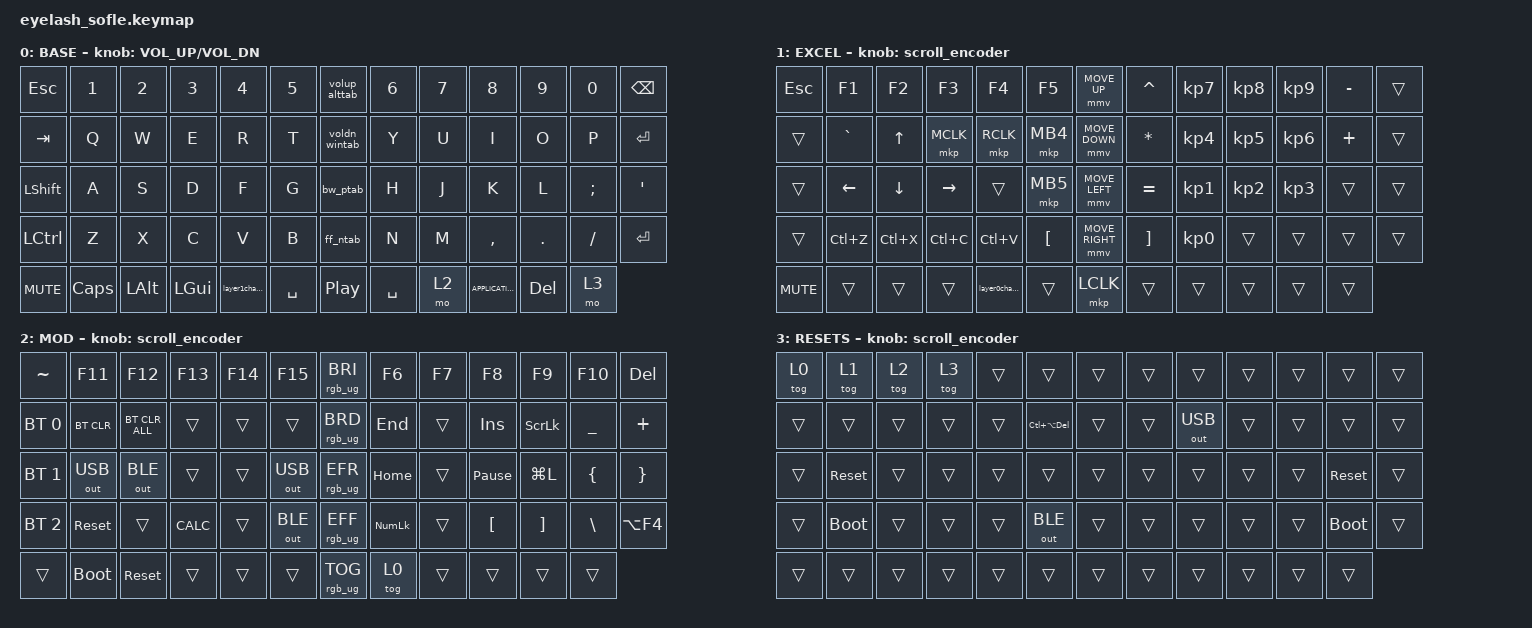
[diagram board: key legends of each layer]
#define ZMK_POINTING_DEFAULT_MOVE_VAL 1200  // 600
#define ZMK_POINTING_DEFAULT_SCRL_VAL 25   // 10

#include <input/processors.dtsi>
#include <zephyr/dt-bindings/input/input-event-codes.h>
#include <behaviors.dtsi>
#include <dt-bindings/zmk/bt.h>
#include <dt-bindings/zmk/keys.h>
#include <dt-bindings/zmk/outputs.h>
#include <dt-bindings/zmk/pointing.h>
#include <dt-bindings/zmk/rgb.h>

&mmv_input_listener { input-processors = <&zip_xy_scaler 2 1>; };

&msc_input_listener { input-processors = <&zip_scroll_scaler 2 1>; };

&msc {
    acceleration-exponent = <1>;      // 0
    time-to-max-speed-ms = <100>;       // 300
    delay-ms = <0>;                   // 0
};

&mmv {
    time-to-max-speed-ms = <500>;
    acceleration-exponent = <1>;
    trigger-period-ms = <16>;
};

/ {
    scroll_encoder: scroll_encoder {
        compatible = "zmk,behavior-sensor-rotate";
        #sensor-binding-cells = <0>;
        bindings = <&msc SCRL_DOWN>, <&msc SCRL_UP>;

        tap-ms = <100>;
    };

    ff_ntab: ff_ntab {
        compatible = "zmk,behavior-mod-morph";
        label = "FF_NTAB";
        bindings = <&kp C_NEXT>, <&kp LC(PAGE_UP)>;

        #binding-cells = <0>;
        mods = <(MOD_LCTL)>;
    };

    bw_ptab: bw_ptab {
        compatible = "zmk,behavior-mod-morph";
        label = "BW_PTAB";
        bindings = <&kp C_PREVIOUS>, <&kp LC(PAGE_DOWN)>;

        #binding-cells = <0>;
        mods = <(MOD_LCTL)>;
    };

    volup_alttab: volup_alttab {
        compatible = "zmk,behavior-mod-morph";
        label = "VOLUP_ALTTAB";
        bindings = <&kp C_VOLUME_UP>, <&kp LA(TAB)>;

        #binding-cells = <0>;
        mods = <(MOD_LCTL)>;
    };

    voldn_wintab: voldn_wintab {
        compatible = "zmk,behavior-mod-morph";
        label = "VOLDN_WINTAB";
        bindings = <&kp C_VOL_DN>, <&kp LG(TAB)>;

        #binding-cells = <0>;
        mods = <(MOD_LCTL)>;
    };

    layer1change: layer1change {
        compatible = "zmk,behavior-tap-dance";
        label = "LAYER1CHANGE";
        #binding-cells = <0>;
        bindings = <&mo 1>, <&none>, <&tog 1>;
    };

    layer0change: layer0change {
        compatible = "zmk,behavior-tap-dance";
        label = "LAYER0CHANGE";
        #binding-cells = <0>;
        bindings = <&trans>, <&none>, <&tog 0>;
    };

    behaviors {
    };

    keymap {
        compatible = "zmk,keymap";

        layer0 {
            bindings = <
&kp ESC           &kp N1    &kp N2        &kp N3        &kp N4         &kp N5       &volup_alttab     &kp N6     &kp N7  &kp N8             &kp N9   &kp N0    &kp BACKSPACE
&kp TAB           &kp Q     &kp W         &kp E         &kp R          &kp T        &voldn_wintab     &kp Y      &kp U   &kp I              &kp O    &kp P     &kp ENTER
&kp LEFT_SHIFT    &kp A     &kp S         &kp D         &kp F          &kp G        &bw_ptab          &kp H      &kp J   &kp K              &kp L    &kp SEMI  &kp APOS
&kp LEFT_CONTROL  &kp Z     &kp X         &kp C         &kp V          &kp B        &ff_ntab          &kp N      &kp M   &kp COMMA          &kp DOT  &kp FSLH  &kp RETURN
&kp C_MUTE        &kp CAPS  &kp LEFT_ALT  &kp LEFT_GUI  &layer1change  &kp SPACE    &kp C_PLAY_PAUSE  &kp SPACE  &mo 2   &kp K_APPLICATION  &kp DEL  &mo 3
            >;

            sensor-bindings = <&inc_dec_kp C_VOLUME_UP C_VOL_DN>;
            display-name = "BASE";
        };

        layer_1 {
            bindings = <
&kp ESC     &kp F1          &kp F2          &kp F3     &kp F4         &kp F5              &mmv MOVE_UP     &kp CARET          &kp KP_N7        &kp KP_NUMBER_8  &kp KP_NUMBER_9  &kp MINUS  &trans
&trans      &kp GRAVE       &kp UP_ARROW    &mkp MCLK  &mkp RCLK      &mkp MB4            &mmv MOVE_DOWN   &kp STAR           &kp KP_NUMBER_4  &kp KP_NUMBER_5  &kp KP_NUMBER_6  &kp PLUS   &trans
&trans      &kp LEFT_ARROW  &kp DOWN_ARROW  &kp RIGHT  &trans         &mkp MB5            &mmv MOVE_LEFT   &kp EQUAL          &kp KP_NUMBER_1  &kp KP_NUMBER_2  &kp KP_NUMBER_3  &trans     &trans
&trans      &kp LC(Z)       &kp LC(X)       &kp LC(C)  &kp LC(V)      &kp LEFT_BRACKET    &mmv MOVE_RIGHT  &kp RIGHT_BRACKET  &kp KP_NUMBER_0  &trans           &trans           &trans     &trans
&kp C_MUTE  &trans          &trans          &trans     &layer0change  &trans              &mkp LCLK        &trans             &trans           &trans           &trans           &trans
            >;

            display-name = "EXCEL";
            sensor-bindings = <&scroll_encoder>;
        };

        layer_2 {
            bindings = <
&kp TILDE     &kp F11       &kp F12         &kp F13     &kp F14  &kp F15         &rgb_ug RGB_BRI  &kp F6      &kp F7  &kp F8            &kp F9             &kp F10        &kp DEL
&bt BT_SEL 0  &bt BT_CLR    &bt BT_CLR_ALL  &trans      &trans   &trans          &rgb_ug RGB_BRD  &kp END     &trans  &kp INSERT        &kp SCROLLLOCK     &kp UNDER      &kp PLUS
&bt BT_SEL 1  &out OUT_USB  &out OUT_BLE    &trans      &trans   &out OUT_USB    &rgb_ug RGB_EFR  &kp HOME    &trans  &kp PAUSE_BREAK   &kp LG(L)          &kp LBRC       &kp RBRC
&bt BT_SEL 2  &sys_reset    &trans          &kp K_CALC  &trans   &out OUT_BLE    &rgb_ug RGB_EFF  &kp KP_NUM  &trans  &kp LEFT_BRACKET  &kp RIGHT_BRACKET  &kp BACKSLASH  &kp LA(F4)
&trans        &bootloader   &sys_reset      &trans      &trans   &trans          &rgb_ug RGB_TOG  &tog 0      &trans  &trans            &trans             &trans
            >;

            display-name = "MOD";
            sensor-bindings = <&scroll_encoder>;
        };

        layer_3 {
            bindings = <
&tog 0  &tog 1       &tog 2  &tog 3  &trans  &trans                &trans  &trans  &trans        &trans  &trans  &trans       &trans
&trans  &trans       &trans  &trans  &trans  &kp LC(LA(DELETE))    &trans  &trans  &out OUT_USB  &trans  &trans  &trans       &trans
&trans  &sys_reset   &trans  &trans  &trans  &trans                &trans  &trans  &trans        &trans  &trans  &sys_reset   &trans
&trans  &bootloader  &trans  &trans  &trans  &out OUT_BLE          &trans  &trans  &trans        &trans  &trans  &bootloader  &trans
&trans  &trans       &trans  &trans  &trans  &trans                &trans  &trans  &trans        &trans  &trans  &trans
            >;

            display-name = "RESETS";
            sensor-bindings = <&scroll_encoder>;
        };
    };
};
